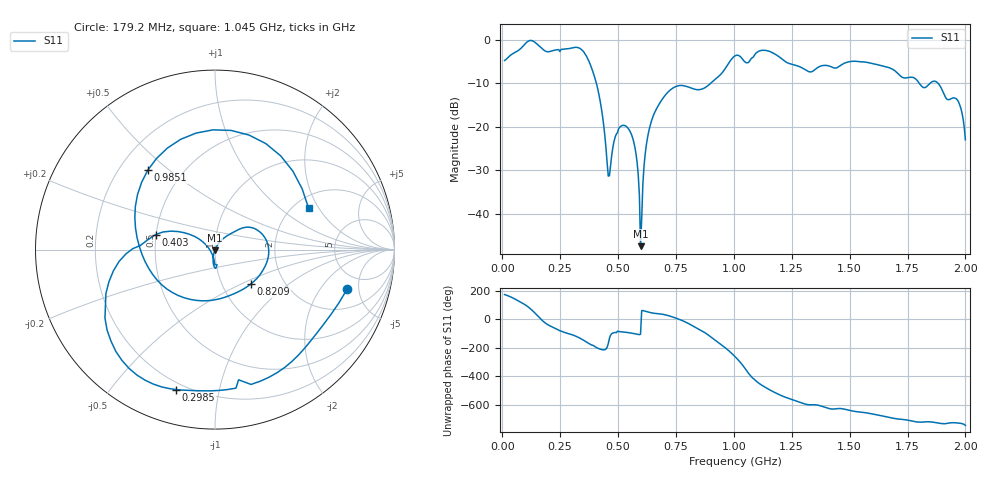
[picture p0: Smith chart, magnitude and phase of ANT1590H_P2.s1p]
!Created with skrf (http://scikit-rf.org).
# Hz S RI R 50.0
!freq ReS11 ImS11
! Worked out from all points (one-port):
!   401 points, 10 MHz to 2 GHz, reference 50 ohm
!   lowest |S11| = -47.5 dB at 597 MHz (marker M1), VSWR 1.01, Z = 49.9 - j0.408 ohm
!   |S11| at or under -10 dB: 406.5 MHz to 899.2 MHz (492.7 MHz wide, 75.5 % of centre); 1.801 GHz to 1.847 GHz (45.67 MHz wide, 2.5 % of centre); 1.883 GHz to end of sweep
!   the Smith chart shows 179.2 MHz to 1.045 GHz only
!   S11 on the Smith chart (normalised r, x): 179.2 MHz: 3.44, -3.72; 298.6 MHz: 0.16, -0.74; 403 MHz: 0.50, +0.09; 820.9 MHz: 1.36, -0.57; 985.1 MHz: 0.32, +0.42; 1.045 GHz: 2.38, +1.64
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1e7  -0.5794 0.0529
6.4725e7  -0.5197 0.5335
1.14475e8  0.0959 0.9745
1.493e8  0.7765 0.4636
1.7915e8  0.7353 -0.2217
2.5875e8  0.0678 -0.78
2.9855e8  -0.2193 -0.7795
3.53275e8  -0.613 -0.3812
4.03025e8  -0.331 0.0836
4.5775e8  -0.0265 -0.00513
5.075e8  0.00696 -0.0987
5.62225e8  -0.00961 -0.075
5.9705e8  -0.00097 -0.00409
6.468e8  0.0856 0.0877
7.5625e8  0.2945 0.0285
8.20925e8  0.199 -0.1921
9.10475e8  -0.2364 -0.2397
9.851e8  -0.3743 0.4427
1.005e9  -0.1049 0.6494
1.0448e9  0.521 0.2323
1.0846e9  0.3645 -0.5256
1.11445e9  -0.0675 -0.7526
1.17415e9  -0.6086 -0.342
1.25375e9  -0.4828 0.2054
1.5025e9  0.0896 0.5584
1.75125e9  0.3604 0.0822
1.9602e9  0.2102 -0.0214
2e9  0.0647 -0.0291
